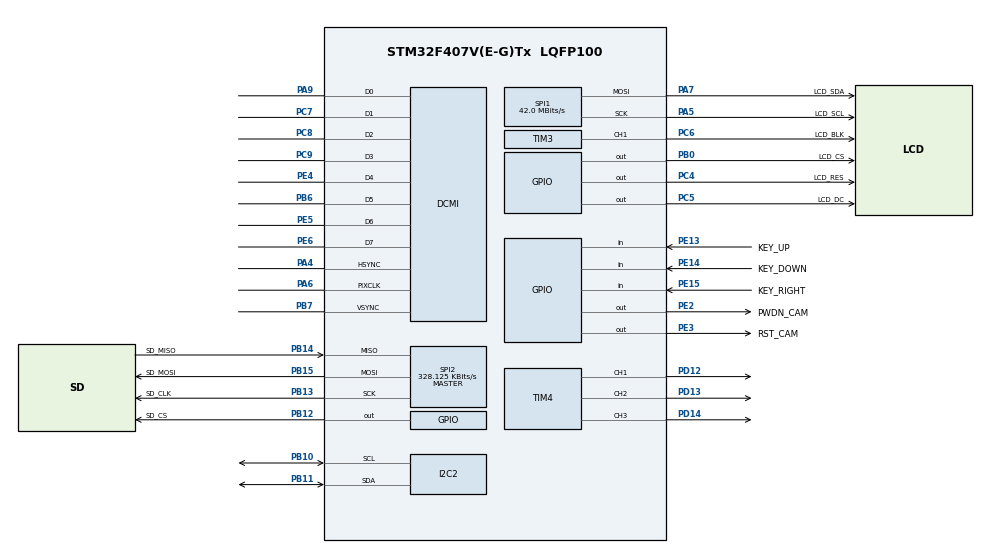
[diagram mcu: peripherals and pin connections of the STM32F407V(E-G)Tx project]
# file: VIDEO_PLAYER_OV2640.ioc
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DCMI.PCKPolarity=DCMI_PCKPOLARITY_RISING
Dma.DCMI.3.Direction=DMA_PERIPH_TO_MEMORY
Dma.DCMI.3.FIFOMode=DMA_FIFOMODE_DISABLE
Dma.DCMI.3.Instance=DMA2_Stream1
Dma.DCMI.3.MemDataAlignment=DMA_MDATAALIGN_WORD
Dma.DCMI.3.MemInc=DMA_MINC_ENABLE
Dma.DCMI.3.Mode=DMA_NORMAL
Dma.DCMI.3.PeriphDataAlignment=DMA_PDATAALIGN_WORD
Dma.DCMI.3.PeriphInc=DMA_PINC_DISABLE
Dma.DCMI.3.Priority=DMA_PRIORITY_LOW
Dma.Request0=SPI1_TX
Dma.Request1=SPI2_RX
Dma.Request2=SPI2_TX
Dma.Request3=DCMI
Dma.SPI1_TX.0.Direction=DMA_MEMORY_TO_PERIPH
Dma.SPI1_TX.0.FIFOMode=DMA_FIFOMODE_ENABLE
Dma.SPI1_TX.0.FIFOThreshold=DMA_FIFO_THRESHOLD_FULL
Dma.SPI1_TX.0.Instance=DMA2_Stream3
Dma.SPI1_TX.0.MemBurst=DMA_MBURST_INC8
Dma.SPI1_TX.0.MemDataAlignment=DMA_MDATAALIGN_HALFWORD
Dma.SPI1_TX.0.MemInc=DMA_MINC_ENABLE
Dma.SPI1_TX.0.Mode=DMA_NORMAL
Dma.SPI1_TX.0.PeriphBurst=DMA_PBURST_SINGLE
Dma.SPI1_TX.0.PeriphDataAlignment=DMA_PDATAALIGN_HALFWORD
Dma.SPI1_TX.0.PeriphInc=DMA_PINC_DISABLE
Dma.SPI1_TX.0.Priority=DMA_PRIORITY_LOW
Dma.SPI2_RX.1.Direction=DMA_PERIPH_TO_MEMORY
Dma.SPI2_RX.1.FIFOMode=DMA_FIFOMODE_ENABLE
Dma.SPI2_RX.1.FIFOThreshold=DMA_FIFO_THRESHOLD_FULL
Dma.SPI2_RX.1.Instance=DMA1_Stream3
Dma.SPI2_RX.1.MemBurst=DMA_MBURST_INC8
Dma.SPI2_RX.1.MemDataAlignment=DMA_MDATAALIGN_BYTE
Dma.SPI2_RX.1.MemInc=DMA_MINC_ENABLE
Dma.SPI2_RX.1.Mode=DMA_NORMAL
Dma.SPI2_RX.1.PeriphBurst=DMA_PBURST_SINGLE
Dma.SPI2_RX.1.PeriphDataAlignment=DMA_PDATAALIGN_BYTE
Dma.SPI2_RX.1.PeriphInc=DMA_PINC_DISABLE
Dma.SPI2_RX.1.Priority=DMA_PRIORITY_MEDIUM
Dma.SPI2_TX.2.Direction=DMA_MEMORY_TO_PERIPH
Dma.SPI2_TX.2.FIFOMode=DMA_FIFOMODE_ENABLE
Dma.SPI2_TX.2.FIFOThreshold=DMA_FIFO_THRESHOLD_FULL
Dma.SPI2_TX.2.Instance=DMA1_Stream4
Dma.SPI2_TX.2.MemBurst=DMA_MBURST_INC8
Dma.SPI2_TX.2.MemDataAlignment=DMA_MDATAALIGN_BYTE
Dma.SPI2_TX.2.MemInc=DMA_MINC_ENABLE
Dma.SPI2_TX.2.Mode=DMA_NORMAL
Dma.SPI2_TX.2.PeriphBurst=DMA_PBURST_SINGLE
Dma.SPI2_TX.2.PeriphDataAlignment=DMA_PDATAALIGN_BYTE
Dma.SPI2_TX.2.PeriphInc=DMA_PINC_DISABLE
Dma.SPI2_TX.2.Priority=DMA_PRIORITY_MEDIUM
Mcu.Family=STM32F4
Mcu.Name=STM32F407V(E-G)Tx
Mcu.Package=LQFP100
NVIC.DCMI_IRQn=true\:0\:0\:true\:false\:true\:true\:true\:true
NVIC.DMA1_Stream3_IRQn=true\:2\:0\:true\:false\:true\:false\:true\:true
NVIC.DMA1_Stream4_IRQn=true\:2\:0\:true\:false\:true\:false\:true\:true
NVIC.DMA2_Stream1_IRQn=true\:0\:0\:true\:false\:true\:false\:true\:true
NVIC.DMA2_Stream3_IRQn=true\:3\:0\:true\:false\:true\:false\:true\:true
NVIC.PriorityGroup=NVIC_PRIORITYGROUP_4
NVIC.TIM1_UP_TIM10_IRQn=true\:0\:0\:false\:false\:true\:true\:true\:true
PA13.Mode=Serial_Wire
PA13.Signal=SYS_JTMS-SWDIO
PA14.Mode=Serial_Wire
PA14.Signal=SYS_JTCK-SWCLK
PA15.Signal=I2S3_WS
PA4.GPIO_PuPd=GPIO_PULLUP
PA4.GPIO_Speed=GPIO_SPEED_FREQ_VERY_HIGH
PA4.Mode=Slave_8_bits_External_Synchro
PA4.Signal=DCMI_HSYNC
PA5.GPIO_Label=LCD_SCL
PA5.GPIO_PuPd=GPIO_PULLUP
PA5.Mode=TX_Only_Simplex_Unidirect_Master
PA5.Signal=SPI1_SCK
PA6.GPIO_PuPd=GPIO_PULLUP
PA6.GPIO_Speed=GPIO_SPEED_FREQ_VERY_HIGH
PA6.Mode=Slave_8_bits_External_Synchro
PA6.Signal=DCMI_PIXCLK
PA7.GPIO_Label=LCD_SDA
PA7.GPIO_PuPd=GPIO_PULLUP
PA7.Mode=TX_Only_Simplex_Unidirect_Master
PA7.Signal=SPI1_MOSI
PA9.GPIO_PuPd=GPIO_PULLUP
PA9.GPIO_Speed=GPIO_SPEED_FREQ_VERY_HIGH
PA9.Mode=Slave_8_bits_External_Synchro
PA9.Signal=DCMI_D0
PB0.GPIO_Label=LCD_CS
PB0.GPIO_PuPd=GPIO_PULLUP
PB0.GPIO_Speed=GPIO_SPEED_FREQ_HIGH
PB0.PinState=GPIO_PIN_SET
PB0.Signal=GPIO_Output
PB10.GPIO_Pu=GPIO_PULLUP
PB10.Mode=I2C
PB10.Signal=I2C2_SCL
PB11.GPIO_Pu=GPIO_PULLUP
PB11.Mode=I2C
PB11.Signal=I2C2_SDA
PB12.GPIO_Label=SD_CS
PB12.GPIO_PuPd=GPIO_PULLUP
PB12.GPIO_Speed=GPIO_SPEED_FREQ_HIGH
PB12.PinState=GPIO_PIN_SET
PB12.Signal=GPIO_Output
PB13.GPIO_Label=SD_CLK
PB13.GPIO_PuPd=GPIO_PULLUP
PB13.Mode=Full_Duplex_Master
PB13.Signal=SPI2_SCK
PB14.GPIO_Label=SD_MISO
PB14.GPIO_PuPd=GPIO_PULLUP
PB14.Mode=Full_Duplex_Master
PB14.Signal=SPI2_MISO
PB15.GPIO_Label=SD_MOSI
PB15.GPIO_PuPd=GPIO_PULLUP
PB15.Mode=Full_Duplex_Master
PB15.Signal=SPI2_MOSI
PB6.GPIO_PuPd=GPIO_PULLUP
PB6.GPIO_Speed=GPIO_SPEED_FREQ_VERY_HIGH
PB6.Mode=Slave_8_bits_External_Synchro
PB6.Signal=DCMI_D5
PB7.GPIO_PuPd=GPIO_PULLUP
PB7.GPIO_Speed=GPIO_SPEED_FREQ_VERY_HIGH
PB7.Mode=Slave_8_bits_External_Synchro
PB7.Signal=DCMI_VSYNC
PC10.Signal=I2S3_CK
PC12.Signal=I2S3_SD
PC4.GPIO_Label=LCD_RES
PC4.GPIO_Speed=GPIO_SPEED_FREQ_HIGH
PC4.PinState=GPIO_PIN_SET
PC4.Signal=GPIO_Output
PC5.GPIO_Label=LCD_DC
PC5.GPIO_Speed=GPIO_SPEED_FREQ_HIGH
PC5.PinState=GPIO_PIN_SET
PC5.Signal=GPIO_Output
PC6.GPIO_Label=LCD_BLK
PC6.Signal=S_TIM3_CH1
PC7.GPIO_PuPd=GPIO_PULLUP
PC7.GPIO_Speed=GPIO_SPEED_FREQ_VERY_HIGH
PC7.Mode=Slave_8_bits_External_Synchro
PC7.Signal=DCMI_D1
PC8.GPIO_PuPd=GPIO_PULLUP
PC8.GPIO_Speed=GPIO_SPEED_FREQ_VERY_HIGH
PC8.Mode=Slave_8_bits_External_Synchro
PC8.Signal=DCMI_D2
PC9.GPIO_PuPd=GPIO_PULLUP
PC9.GPIO_Speed=GPIO_SPEED_FREQ_VERY_HIGH
PC9.Mode=Slave_8_bits_External_Synchro
PC9.Signal=DCMI_D3
PD12.Signal=S_TIM4_CH1
PD13.Signal=S_TIM4_CH2
PD14.Signal=S_TIM4_CH3
PE13.GPIO_Label=KEY_UP
PE13.GPIO_Mode=GPIO_MODE_INPUT
PE13.GPIO_PuPd=GPIO_PULLUP
PE13.Signal=GPIO_Input
PE14.GPIO_Label=KEY_DOWN
PE14.GPIO_Mode=GPIO_MODE_INPUT
PE14.GPIO_PuPd=GPIO_PULLUP
PE14.Signal=GPIO_Input
PE15.GPIO_Label=KEY_RIGHT
PE15.GPIO_Mode=GPIO_MODE_INPUT
PE15.GPIO_PuPd=GPIO_PULLUP
PE15.Signal=GPIO_Input
PE2.GPIO_Label=PWDN_CAM
PE2.GPIO_Speed=GPIO_SPEED_FREQ_VERY_HIGH
PE2.PinState=GPIO_PIN_SET
PE2.Signal=GPIO_Output
PE3.GPIO_Label=RST_CAM
PE3.GPIO_PuPd=GPIO_PULLUP
PE3.GPIO_Speed=GPIO_SPEED_FREQ_VERY_HIGH
PE3.PinState=GPIO_PIN_SET
PE3.Signal=GPIO_Output
PE4.GPIO_PuPd=GPIO_PULLUP
PE4.GPIO_Speed=GPIO_SPEED_FREQ_VERY_HIGH
PE4.Mode=Slave_8_bits_External_Synchro
PE4.Signal=DCMI_D4
PE5.GPIO_PuPd=GPIO_PULLUP
PE5.GPIO_Speed=GPIO_SPEED_FREQ_VERY_HIGH
PE5.Mode=Slave_8_bits_External_Synchro
PE5.Signal=DCMI_D6
PE6.GPIO_PuPd=GPIO_PULLUP
PE6.GPIO_Speed=GPIO_SPEED_FREQ_VERY_HIGH
PE6.Mode=Slave_8_bits_External_Synchro
PE6.Signal=DCMI_D7
PH0-OSC_IN.Mode=HSE-External-Oscillator
PH0-OSC_IN.Signal=RCC_OSC_IN
PH1-OSC_OUT.Mode=HSE-External-Oscillator
PH1-OSC_OUT.Signal=RCC_OSC_OUT
ProjectManager.HeapSize=0x200
ProjectManager.StackSize=0x400
ProjectManager.TargetToolchain=STM32CubeIDE
RCC.48MHZClocksFreq_Value=84000000
RCC.AHBFreq_Value=168000000
RCC.APB1CLKDivider=RCC_HCLK_DIV4
RCC.APB1Freq_Value=42000000
RCC.APB1TimFreq_Value=84000000
RCC.APB2CLKDivider=RCC_HCLK_DIV2
RCC.APB2Freq_Value=84000000
RCC.APB2TimFreq_Value=168000000
RCC.CortexFreq_Value=168000000
RCC.EnbaleCSS=true
RCC.HCLKFreq_Value=168000000
RCC.HSE_VALUE=8000000
RCC.HSI_VALUE=16000000
RCC.LSE_VALUE=32768
RCC.PLLM=4
RCC.PLLN=168
RCC.PLLSourceVirtual=RCC_PLLSOURCE_HSE
RCC.RCC_MCO1Source=RCC_MCO1SOURCE_PLLCLK
RCC.SYSCLKFreq_VALUE=168000000
RCC.SYSCLKSource=RCC_SYSCLKSOURCE_PLLCLK
RCC.VCOOutputFreq_Value=336000000
SH.S_TIM3_CH1.0=TIM3_CH1,PWM Generation1 CH1
SH.S_TIM4_CH1.0=TIM4_CH1,PWM Generation1 CH1
SH.S_TIM4_CH2.0=TIM4_CH2,PWM Generation2 CH2
SH.S_TIM4_CH3.0=TIM4_CH3,PWM Generation3 CH3
SPI1.BaudRatePrescaler=SPI_BAUDRATEPRESCALER_2
SPI1.CLKPhase=SPI_PHASE_2EDGE
SPI1.CLKPolarity=SPI_POLARITY_HIGH
SPI1.CalculateBaudRate=42.0 MBits/s
SPI1.DataSize=SPI_DATASIZE_16BIT
SPI1.Direction=SPI_DIRECTION_2LINES
SPI1.Mode=SPI_MODE_MASTER
SPI1.VirtualType=VM_MASTER
SPI2.BaudRatePrescaler=SPI_BAUDRATEPRESCALER_128
SPI2.CalculateBaudRate=328.125 KBits/s
SPI2.Direction=SPI_DIRECTION_2LINES
SPI2.Mode=SPI_MODE_MASTER
SPI2.VirtualType=VM_MASTER
TIM10.Period=420-1
TIM10.Prescaler=1000-1
TIM3.Channel-PWM\ Generation1\ CH1=TIM_CHANNEL_1
TIM3.Period=210-1
TIM3.Prescaler=1000-1
TIM3.Pulse-PWM\ Generation1\ CH1=105
TIM4.Channel-PWM\ Generation1\ CH1=TIM_CHANNEL_1
TIM4.Channel-PWM\ Generation2\ CH2=TIM_CHANNEL_2
TIM4.Channel-PWM\ Generation3\ CH3=TIM_CHANNEL_3
VP_TIM10_VS_ClockSourceINT.Mode=Enable_Timer
board=custom

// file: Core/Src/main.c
/* USER CODE BEGIN Header */
/**
  ******************************************************************************
  * @file           : main.c
  * @brief          : Main program body
  ******************************************************************************
  * @attention
  *
  * Copyright (c) 2026 STMicroelectronics.
  * All rights reserved.
  *
  * This software is licensed under terms that can be found in the LICENSE file
  * in the root directory of this software component.
  * If no LICENSE file comes with this software, it is provided AS-IS.
  *
  ******************************************************************************
  */
/* USER CODE END Header */
#include "main.h"

/* USER CODE BEGIN Includes */
#include "display.h" 		//display driver
#include "st7789.h"
#include "ili9341.h" 		//display support based on ili9341 controller
#include "pcm5102.h" 		//DAC driver PCM5102
#include "ff.h"		 		//FatFS library
#include "avi.h"	 		//AVI player
#include "filemanager.h"	//file manager
#include "keyboard.h"		//module for working with buttons

#include "common.h"
#include "ov2640.h"
/* USER CODE END Includes */

/* USER CODE BEGIN PTD */
//счетчик "системного времени", мс
volatile uint32_t millis = 0;

//Переменные для библиотеки FatFs
char Path[4];
FATFS FatFS;

/* USER CODE END PTD */

/* USER CODE BEGIN PD */
#define MAX_PICTURE_BUFF 54400  //320x170
uint16_t pBuffer[MAX_PICTURE_BUFF];
/* USER CODE END PD */

DCMI_HandleTypeDef hdcmi;
DMA_HandleTypeDef hdma_dcmi;

I2C_HandleTypeDef hi2c2;

TIM_HandleTypeDef htim4;

void SystemClock_Config(void);
static void MX_GPIO_Init(void);
static void MX_DMA_Init(void);
static void MX_SPI1_Init(void);
static void MX_TIM3_Init(void);
static void MX_SPI2_Init(void);
static void MX_TIM10_Init(void);
static void MX_DCMI_Init(void);
static void MX_I2C2_Init(void);
static void MX_TIM4_Init(void);

/* USER CODE BEGIN 0 */
static void DWT_init (void)
{
	if (!(CoreDebug->DEMCR & CoreDebug_DEMCR_TRCENA_Msk))	{
		CoreDebug->DEMCR |= CoreDebug_DEMCR_TRCENA_Msk;
	#ifdef __CORE_CM7_H_GENERIC
	        DWT->LAR = 0xC5ACCE55;  //unlocking access to the DWT register
	#endif
	   DWT->CYCCNT = 0;
	   DWT->CTRL |= DWT_CTRL_CYCCNTENA_Msk;
	}
}
/* USER CODE END 0 */

int main(void)
{

  /* USER CODE BEGIN 1 */
	LL_FLASH_SetLatency(LL_FLASH_LATENCY_5);   // Ajusta la latencia de la Flash para 168 MHz (evita fallos)
	LL_FLASH_EnablePrefetch();                 // Adelanta instrucciones desde Flash (mejor rendimiento)
	LL_FLASH_EnableInstCache();                // Cachea instrucciones (CPU más rápida)
	LL_FLASH_EnableDataCache();                // Cachea datos desde Flash (accesos más rápidos)
  /* USER CODE END 1 */

  /* MCU Configuration--------------------------------------------------------*/

  /* Reset of all peripherals, Initializes the Flash interface and the Systick. */
  HAL_Init();

  /* Configure the system clock */
  SystemClock_Config();

  /* USER CODE BEGIN SysInit */
	//настраиваем системный таймер (прерывания 1000 раз в секунду)
	SysTick_Config(SystemCoreClock/1000);
  /* USER CODE END SysInit */

  /* Initialize all configured peripherals */
  MX_GPIO_Init();
  MX_DMA_Init();
  MX_SPI1_Init();
  MX_TIM3_Init();
  MX_SPI2_Init();
  MX_TIM10_Init();
  MX_DCMI_Init();
  MX_I2C2_Init();
  MX_TIM4_Init();
  /* USER CODE BEGIN 2 */
  /* ---------------------------- PULSADORES ------------------------------- */
  //KEYB_Add_Button(KEY_LEFT_GPIO_Port, KEY_LEFT_Pin, KEYB_LEFT, KEYB_BUTTON_ACTIVE);
  KEYB_Add_Button(KEY_RIGHT_GPIO_Port, KEY_RIGHT_Pin, KEYB_RIGHT, KEYB_BUTTON_ACTIVE);
  KEYB_Add_Button(KEY_UP_GPIO_Port, KEY_UP_Pin, KEYB_UP, KEYB_BUTTON_ACTIVE);
  KEYB_Add_Button(KEY_DOWN_GPIO_Port, KEY_DOWN_Pin, KEYB_DOWN, KEYB_BUTTON_ACTIVE);

  TIM10->DIER |= TIM_DIER_UIE;
  TIM10->CR1  |= TIM_CR1_CEN;
  /* ------------------------------------------------------------------------------- */

  //Initialize I2S3
    Init_DAC();
    //Setup_DAC(SPI3, 44100, LL_I2S_DATAFORMAT_16B);

	DWT_init();

	//-------------------Setting parameters and initializing the display ---------------------
	LCD_BackLight_data bl_dat = { .htim_bk = TIM3,
		  	  	  	  	  	  	  .channel_htim_bk = LL_TIM_CHANNEL_CH1,
    							  .blk_port = 0,
    							  .blk_pin = 0,
    							  .bk_percent = 50 };

	LCD_DMA_TypeDef hdma_spi1_tx = { .dma = DMA2,
		  	  	  	  	  	  	     .stream = LL_DMA_STREAM_3 };

	LCD_SPI_Connected_data spi_dat = { .spi = SPI1,
  		  							   .dma_tx = hdma_spi1_tx,
   									   .reset_port = LCD_RES_GPIO_Port,
   									   .reset_pin = LCD_RES_Pin,
   									   .dc_port = LCD_DC_GPIO_Port,
   									   .dc_pin = LCD_DC_Pin,
   									   .cs_port = LCD_CS_GPIO_Port,
   									   .cs_pin = LCD_CS_Pin  };
	#ifndef LCD_DYNAMIC_MEM
	LCD_Handler lcd1;
	#endif

	//For display on controller ST7789 170x320
	//ffmpeg -i che.mp4 -c:a mp3 -c:v mjpeg -s 320x170 -r 23.98 -q 10 che.avi
	LCD = LCD_DisplayAdd( LCD,
	#ifndef LCD_DYNAMIC_MEM
			  	  	  	  	&lcd1,
	#endif
			  	  	  	  	170,//170
			   				320,//320
							ST7789_CONTROLLER_WIDTH,
							ST7789_CONTROLLER_HEIGHT,
							//Задаем смещение по ширине и высоте для нестандартных или бракованных дисплеев:
							35,//-35
							0,//0
							PAGE_ORIENTATION_LANDSCAPE_MIRROR,// PAGE_ORIENTATION_LANDSCAPE
							ST7789_Init,
							ST7789_SetWindow,
							ST7789_SleepIn,
							ST7789_SleepOut,
							&spi_dat,
							LCD_DATA_16BIT_BUS,
							bl_dat);

	/*
	//For display on controller ST7789 135x240
	//ffmpeg -i che.mp4 -c:a mp3 -c:v mjpeg -s 240x135 -r 23.98 -q 10 che.avi
	LCD = LCD_DisplayAdd( LCD,
	#ifndef LCD_DYNAMIC_MEM
			  	  	  	  	&lcd1,
	#endif
			  	  	  	  	135,//170
			   				240,//320
							ST7789_CONTROLLER_WIDTH,
							ST7789_CONTROLLER_HEIGHT,
							//Задаем смещение по ширине и высоте для нестандартных или бракованных дисплеев:
							-53,//-35
							40,//0
							PAGE_ORIENTATION_LANDSCAPE,// PAGE_ORIENTATION_LANDSCAPE
							ST7789_Init,
							ST7789_SetWindow,
							ST7789_SleepIn,
							ST7789_SleepOut,
							&spi_dat,
							LCD_DATA_16BIT_BUS,
							bl_dat);
	*/

	/*
	//For display on controller ILI9341
	LCD = LCD_DisplayAdd( LCD,
	#ifndef LCD_DYNAMIC_MEM
		  	  	  	  	  &lcd1,
	#endif
		  	  	  	  	  320,
		   				  240,
						  ILI9341_CONTROLLER_WIDTH,
						  ILI9341_CONTROLLER_HEIGHT,
						  //Set the offset in width and height for non-standard or defective displays:
						  0,		//display matrix width offset
						  0,		//display matrix height offset
						  //PAGE_ORIENTATION_PORTRAIT,
						  //PAGE_ORIENTATION_PORTRAIT_MIRROR,
						  PAGE_ORIENTATION_LANDSCAPE_MIRROR,
						  ILI9341_Init,
						  ILI9341_SetWindow,
						  ILI9341_SleepIn,
						  ILI9341_SleepOut,
						  &spi_dat,
						  LCD_DATA_16BIT_BUS,
						  bl_dat );
	*/

	LCD_Handler *lcd = LCD; //pointer to the first display in the list
	LCD_Init(lcd);
	LCD_Fill(lcd, 0x319bb1);
	//------------------------------------------------------------------------------------------

	//----------------------------------- Mounting the disc -----------------------------------
	(void)f_mount(&FatFS, Path, 0);
	//------------------------------------------------------------------------------------------

	/* ----------------------------Setting up a file manager ---------------------------- */
	/* Define a color scheme */
	File_Manager_Color_Scheme color_scheme_pl = { COLOR_YELLOW,		/* directory name text color */
			  	  	  	  	  	  	  	  	  	  COLOR_WHITE,		/* file name text color */
												  COLOR_GREEN,		/* text color of the selected file/directory */
												  0x319bb1,			/* manager window background color (for empty lines) */
												  0x319bb1,			/* background color of even rows */
												  0x319bb1,			/* background color of odd rows */
												  COLOR_LIGHTGREY,	/* cursor color of the current file/directory */
												  COLOR_LIGHTGREY,	/* vertical scroll slider color */
												  0x319bb1,			/* vertical scroll bar color */
												  1					/* cursor color flag:
																  	  	  0 - the text of the selected file/directory is circled
																  	  	  	  cursor color rectangle (cursor_color).
														 	 	  	  	  >0 -the text background of the selected file/directory is equal to
														 	 	  	  	  	  cursor color (cursor_color) */
												 	 };

	File_Manager_Handler *fm = FileManagerNew();	/* Creating a File Manager Handler */
	fm->SetDisplay(fm, lcd);						/* Display showing the file manager (pointer) */
	fm->SetWin(fm, 6, 0, lcd->Width-6, lcd->Height);/* File manager window options:
	  	  	  	  	  	  	  	  	  	  	  	  	   - horizontal position of the upper left corner of the window;
	  	  	  	  	  	  	  	  	  	  	  	  	   - vertical position of the upper left corner of the window;
	  	  	  	  	  	  	  	  	  	  	  	  	   - window width;
	  	  	  	  	  	  	  	  	  	  	  	  	   - window height. */
	fm->SetColor(fm, &color_scheme_pl);				 /* Color scheme (index) */
	fm->SetFont(fm, &Font_12x20);					 /* Font (pointer) */
	fm->SetKeys(fm, KEYB_UP, KEYB_DOWN, KEYB_RIGHT); /* Control buttons:
	   	   	   	   	   	   	   	   	   	   	   	   	    - button bit number up;
	   	   	   	   	   	   	   	   	   	   	   	   	    - button bit number down;
	   	   	   	   	   	   	   	   	   	   	   	   	    - bit number of the enter/select button. */
	//-----------------------------------------------------------------------------------------

	//Splash screen with information about the program and author
	//AVIIntro(lcd);
	LL_mDelay(30);
	uint8_t f_popup = 1;

	ov2640_Init(0x60, CAMERA_Monitor);

	//uint32_t keys=0;
	//keys = KEYB_Inkeys();
	//while (keys & (1 << KEYB_RIGHT));

	//while(!KEYB_kbhit());

  /* USER CODE END 2 */

  /* Infinite loop */
  /* USER CODE BEGIN WHILE */
  while (1)
  {
	    HAL_DCMI_Start_DMA(&hdcmi, DCMI_MODE_SNAPSHOT, (uint32_t)pBuffer, MAX_PICTURE_BUFF/2);
	    while (HAL_DCMI_GetState(&hdcmi) != HAL_DCMI_STATE_READY);
	    LCD_DrawImage(lcd, 0, 0, 320, 170, pBuffer,0);

	    /*
  	// Fill the display with blue (the background color of the file manager)
  	LCD_Fill(lcd, 0x319bb1);
  	// "Pop-up" window of the file manager
		if (f_popup) {
			FileManagerPopupWin(fm, 5);
			f_popup = 0;
		}
		// Launch file manager
		fm->Show(fm);
		// Check the shutdown status of the file manager
		if (fm->GetStatus(fm) == File_Manager_OK) { // Completing without errors with file selection?
			// Launch the video player
			PlayAVI(fm->GetFilePath(fm), fm->GetFileName(fm), lcd, 0, 0, lcd->Width, lcd->Height);
		}
		else {
			// Display a message that the file manager completed with an error
			LCD_WriteString(lcd, 20, 0, "Error FileManager!", fm->font, fm->color_scheme->text_color_file, fm->color_scheme->bg_color, LCD_SYMBOL_PRINT_FAST);
			// Wait for any button to be pressed
			while(!KEYB_kbhit()) { }
		}
	     */

    /* USER CODE END WHILE */

  }
}

void SystemClock_Config(void)
{
  LL_FLASH_SetLatency(LL_FLASH_LATENCY_5);
  while(LL_FLASH_GetLatency()!= LL_FLASH_LATENCY_5)
  {
  }
  LL_PWR_SetRegulVoltageScaling(LL_PWR_REGU_VOLTAGE_SCALE1);
  LL_RCC_HSE_Enable();

   /* Wait till HSE is ready */
  while(LL_RCC_HSE_IsReady() != 1)
  {

  }
  LL_RCC_HSE_EnableCSS();
  LL_RCC_PLL_ConfigDomain_SYS(LL_RCC_PLLSOURCE_HSE, LL_RCC_PLLM_DIV_4, 168, LL_RCC_PLLP_DIV_2);
  LL_RCC_PLL_Enable();

   /* Wait till PLL is ready */
  while(LL_RCC_PLL_IsReady() != 1)
  {

  }
  while (LL_PWR_IsActiveFlag_VOS() == 0)
  {
  }
  LL_RCC_SetAHBPrescaler(LL_RCC_SYSCLK_DIV_1);
  LL_RCC_SetAPB1Prescaler(LL_RCC_APB1_DIV_4);
  LL_RCC_SetAPB2Prescaler(LL_RCC_APB2_DIV_2);
  LL_RCC_SetSysClkSource(LL_RCC_SYS_CLKSOURCE_PLL);

   /* Wait till System clock is ready */
  while(LL_RCC_GetSysClkSource() != LL_RCC_SYS_CLKSOURCE_STATUS_PLL)
  {

  }
  LL_SetSystemCoreClock(168000000);

   /* Update the time base */
  if (HAL_InitTick (TICK_INT_PRIORITY) != HAL_OK)
  {
    Error_Handler();
  }
}

static void MX_DCMI_Init(void)
{

  hdcmi.Instance = DCMI;
  hdcmi.Init.SynchroMode = DCMI_SYNCHRO_HARDWARE;
  hdcmi.Init.PCKPolarity = DCMI_PCKPOLARITY_RISING;
  hdcmi.Init.VSPolarity = DCMI_VSPOLARITY_LOW;
  hdcmi.Init.HSPolarity = DCMI_HSPOLARITY_LOW;
  hdcmi.Init.CaptureRate = DCMI_CR_ALL_FRAME;
  hdcmi.Init.ExtendedDataMode = DCMI_EXTEND_DATA_8B;
  hdcmi.Init.JPEGMode = DCMI_JPEG_DISABLE;
  if (HAL_DCMI_Init(&hdcmi) != HAL_OK)
  {
    Error_Handler();
  }

}

static void MX_I2C2_Init(void)
{

  hi2c2.Instance = I2C2;
  hi2c2.Init.ClockSpeed = 100000;
  hi2c2.Init.DutyCycle = I2C_DUTYCYCLE_2;
  hi2c2.Init.OwnAddress1 = 0;
  hi2c2.Init.AddressingMode = I2C_ADDRESSINGMODE_7BIT;
  hi2c2.Init.DualAddressMode = I2C_DUALADDRESS_DISABLE;
  hi2c2.Init.OwnAddress2 = 0;
  hi2c2.Init.GeneralCallMode = I2C_GENERALCALL_DISABLE;
  hi2c2.Init.NoStretchMode = I2C_NOSTRETCH_DISABLE;
  if (HAL_I2C_Init(&hi2c2) != HAL_OK)
  {
    Error_Handler();
  }

}

static void MX_SPI1_Init(void)
{

  LL_SPI_InitTypeDef SPI_InitStruct = {0};

  LL_GPIO_InitTypeDef GPIO_InitStruct = {0};

  /* Peripheral clock enable */
  LL_APB2_GRP1_EnableClock(LL_APB2_GRP1_PERIPH_SPI1);

  LL_AHB1_GRP1_EnableClock(LL_AHB1_GRP1_PERIPH_GPIOA);
  /**SPI1 GPIO Configuration
  PA5   ------> SPI1_SCK
  PA7   ------> SPI1_MOSI
  */
  GPIO_InitStruct.Pin = LCD_SCL_Pin|LCD_SDA_Pin;
  GPIO_InitStruct.Mode = LL_GPIO_MODE_ALTERNATE;
  GPIO_InitStruct.Speed = LL_GPIO_SPEED_FREQ_VERY_HIGH;
  GPIO_InitStruct.OutputType = LL_GPIO_OUTPUT_PUSHPULL;
  GPIO_InitStruct.Pull = LL_GPIO_PULL_UP;
  GPIO_InitStruct.Alternate = LL_GPIO_AF_5;
  LL_GPIO_Init(GPIOA, &GPIO_InitStruct);

  /* SPI1 DMA Init */

  /* SPI1_TX Init */
  LL_DMA_SetChannelSelection(DMA2, LL_DMA_STREAM_3, LL_DMA_CHANNEL_3);

  LL_DMA_SetDataTransferDirection(DMA2, LL_DMA_STREAM_3, LL_DMA_DIRECTION_MEMORY_TO_PERIPH);

  LL_DMA_SetStreamPriorityLevel(DMA2, LL_DMA_STREAM_3, LL_DMA_PRIORITY_LOW);

  LL_DMA_SetMode(DMA2, LL_DMA_STREAM_3, LL_DMA_MODE_NORMAL);

  LL_DMA_SetPeriphIncMode(DMA2, LL_DMA_STREAM_3, LL_DMA_PERIPH_NOINCREMENT);

  LL_DMA_SetMemoryIncMode(DMA2, LL_DMA_STREAM_3, LL_DMA_MEMORY_INCREMENT);

  LL_DMA_SetPeriphSize(DMA2, LL_DMA_STREAM_3, LL_DMA_PDATAALIGN_HALFWORD);

  LL_DMA_SetMemorySize(DMA2, LL_DMA_STREAM_3, LL_DMA_MDATAALIGN_HALFWORD);

  LL_DMA_EnableFifoMode(DMA2, LL_DMA_STREAM_3);

  LL_DMA_SetFIFOThreshold(DMA2, LL_DMA_STREAM_3, LL_DMA_FIFOTHRESHOLD_FULL);

  LL_DMA_SetMemoryBurstxfer(DMA2, LL_DMA_STREAM_3, LL_DMA_MBURST_INC8);

  LL_DMA_SetPeriphBurstxfer(DMA2, LL_DMA_STREAM_3, LL_DMA_PBURST_SINGLE);

  /* SPI1 parameter configuration*/
  SPI_InitStruct.TransferDirection = LL_SPI_FULL_DUPLEX;
  SPI_InitStruct.Mode = LL_SPI_MODE_MASTER;
  SPI_InitStruct.DataWidth = LL_SPI_DATAWIDTH_16BIT;
  SPI_InitStruct.ClockPolarity = LL_SPI_POLARITY_HIGH;
  SPI_InitStruct.ClockPhase = LL_SPI_PHASE_2EDGE;
  SPI_InitStruct.NSS = LL_SPI_NSS_SOFT;
  SPI_InitStruct.BaudRate = LL_SPI_BAUDRATEPRESCALER_DIV2;
  SPI_InitStruct.BitOrder = LL_SPI_MSB_FIRST;
  SPI_InitStruct.CRCCalculation = LL_SPI_CRCCALCULATION_DISABLE;
  SPI_InitStruct.CRCPoly = 10;
  LL_SPI_Init(SPI1, &SPI_InitStruct);
  LL_SPI_SetStandard(SPI1, LL_SPI_PROTOCOL_MOTOROLA);

}

static void MX_SPI2_Init(void)
{

  LL_SPI_InitTypeDef SPI_InitStruct = {0};

  LL_GPIO_InitTypeDef GPIO_InitStruct = {0};

  /* Peripheral clock enable */
  LL_APB1_GRP1_EnableClock(LL_APB1_GRP1_PERIPH_SPI2);

  LL_AHB1_GRP1_EnableClock(LL_AHB1_GRP1_PERIPH_GPIOB);
  /**SPI2 GPIO Configuration
  PB13   ------> SPI2_SCK
  PB14   ------> SPI2_MISO
  PB15   ------> SPI2_MOSI
  */
  GPIO_InitStruct.Pin = SD_CLK_Pin|SD_MISO_Pin|SD_MOSI_Pin;
  GPIO_InitStruct.Mode = LL_GPIO_MODE_ALTERNATE;
  GPIO_InitStruct.Speed = LL_GPIO_SPEED_FREQ_VERY_HIGH;
  GPIO_InitStruct.OutputType = LL_GPIO_OUTPUT_PUSHPULL;
  GPIO_InitStruct.Pull = LL_GPIO_PULL_UP;
  GPIO_InitStruct.Alternate = LL_GPIO_AF_5;
  LL_GPIO_Init(GPIOB, &GPIO_InitStruct);

  /* SPI2 DMA Init */

  /* SPI2_RX Init */
  LL_DMA_SetChannelSelection(DMA1, LL_DMA_STREAM_3, LL_DMA_CHANNEL_0);

  LL_DMA_SetDataTransferDirection(DMA1, LL_DMA_STREAM_3, LL_DMA_DIRECTION_PERIPH_TO_MEMORY);

  LL_DMA_SetStreamPriorityLevel(DMA1, LL_DMA_STREAM_3, LL_DMA_PRIORITY_MEDIUM);

  LL_DMA_SetMode(DMA1, LL_DMA_STREAM_3, LL_DMA_MODE_NORMAL);

  LL_DMA_SetPeriphIncMode(DMA1, LL_DMA_STREAM_3, LL_DMA_PERIPH_NOINCREMENT);

  LL_DMA_SetMemoryIncMode(DMA1, LL_DMA_STREAM_3, LL_DMA_MEMORY_INCREMENT);

  LL_DMA_SetPeriphSize(DMA1, LL_DMA_STREAM_3, LL_DMA_PDATAALIGN_BYTE);

  LL_DMA_SetMemorySize(DMA1, LL_DMA_STREAM_3, LL_DMA_MDATAALIGN_BYTE);

  LL_DMA_EnableFifoMode(DMA1, LL_DMA_STREAM_3);

  LL_DMA_SetFIFOThreshold(DMA1, LL_DMA_STREAM_3, LL_DMA_FIFOTHRESHOLD_FULL);

  LL_DMA_SetMemoryBurstxfer(DMA1, LL_DMA_STREAM_3, LL_DMA_MBURST_INC8);

  LL_DMA_SetPeriphBurstxfer(DMA1, LL_DMA_STREAM_3, LL_DMA_PBURST_SINGLE);

  /* SPI2_TX Init */
  LL_DMA_SetChannelSelection(DMA1, LL_DMA_STREAM_4, LL_DMA_CHANNEL_0);

  LL_DMA_SetDataTransferDirection(DMA1, LL_DMA_STREAM_4, LL_DMA_DIRECTION_MEMORY_TO_PERIPH);

  LL_DMA_SetStreamPriorityLevel(DMA1, LL_DMA_STREAM_4, LL_DMA_PRIORITY_MEDIUM);

  LL_DMA_SetMode(DMA1, LL_DMA_STREAM_4, LL_DMA_MODE_NORMAL);

  LL_DMA_SetPeriphIncMode(DMA1, LL_DMA_STREAM_4, LL_DMA_PERIPH_NOINCREMENT);

  LL_DMA_SetMemoryIncMode(DMA1, LL_DMA_STREAM_4, LL_DMA_MEMORY_INCREMENT);

  LL_DMA_SetPeriphSize(DMA1, LL_DMA_STREAM_4, LL_DMA_PDATAALIGN_BYTE);

  LL_DMA_SetMemorySize(DMA1, LL_DMA_STREAM_4, LL_DMA_MDATAALIGN_BYTE);

  LL_DMA_EnableFifoMode(DMA1, LL_DMA_STREAM_4);

  LL_DMA_SetFIFOThreshold(DMA1, LL_DMA_STREAM_4, LL_DMA_FIFOTHRESHOLD_FULL);

  LL_DMA_SetMemoryBurstxfer(DMA1, LL_DMA_STREAM_4, LL_DMA_MBURST_INC8);

  LL_DMA_SetPeriphBurstxfer(DMA1, LL_DMA_STREAM_4, LL_DMA_PBURST_SINGLE);

  /* SPI2 parameter configuration*/
  SPI_InitStruct.TransferDirection = LL_SPI_FULL_DUPLEX;
  SPI_InitStruct.Mode = LL_SPI_MODE_MASTER;
  SPI_InitStruct.DataWidth = LL_SPI_DATAWIDTH_8BIT;
  SPI_InitStruct.ClockPolarity = LL_SPI_POLARITY_LOW;
  SPI_InitStruct.ClockPhase = LL_SPI_PHASE_1EDGE;
  SPI_InitStruct.NSS = LL_SPI_NSS_SOFT;
  SPI_InitStruct.BaudRate = LL_SPI_BAUDRATEPRESCALER_DIV128;
  SPI_InitStruct.BitOrder = LL_SPI_MSB_FIRST;
  SPI_InitStruct.CRCCalculation = LL_SPI_CRCCALCULATION_DISABLE;
  SPI_InitStruct.CRCPoly = 10;
  LL_SPI_Init(SPI2, &SPI_InitStruct);
  LL_SPI_SetStandard(SPI2, LL_SPI_PROTOCOL_MOTOROLA);

}

static void MX_TIM3_Init(void)
{

  LL_TIM_InitTypeDef TIM_InitStruct = {0};
  LL_TIM_OC_InitTypeDef TIM_OC_InitStruct = {0};

  LL_GPIO_InitTypeDef GPIO_InitStruct = {0};

  /* Peripheral clock enable */
  LL_APB1_GRP1_EnableClock(LL_APB1_GRP1_PERIPH_TIM3);

  TIM_InitStruct.Prescaler = 999;
  TIM_InitStruct.CounterMode = LL_TIM_COUNTERMODE_UP;
  TIM_InitStruct.Autoreload = 210-LL_TIM_IC_FILTER_FDIV1_N2;
  TIM_InitStruct.ClockDivision = LL_TIM_CLOCKDIVISION_DIV1;
  LL_TIM_Init(TIM3, &TIM_InitStruct);
  LL_TIM_DisableARRPreload(TIM3);
  LL_TIM_OC_EnablePreload(TIM3, LL_TIM_CHANNEL_CH1);
  TIM_OC_InitStruct.OCMode = LL_TIM_OCMODE_PWM1;
  TIM_OC_InitStruct.OCState = LL_TIM_OCSTATE_DISABLE;
  TIM_OC_InitStruct.OCNState = LL_TIM_OCSTATE_DISABLE;
  TIM_OC_InitStruct.CompareValue = 105;
  TIM_OC_InitStruct.OCPolarity = LL_TIM_OCPOLARITY_HIGH;
  LL_TIM_OC_Init(TIM3, LL_TIM_CHANNEL_CH1, &TIM_OC_InitStruct);
  LL_TIM_OC_DisableFast(TIM3, LL_TIM_CHANNEL_CH1);
  LL_TIM_SetTriggerOutput(TIM3, LL_TIM_TRGO_RESET);
  LL_TIM_DisableMasterSlaveMode(TIM3);
  LL_AHB1_GRP1_EnableClock(LL_AHB1_GRP1_PERIPH_GPIOC);
  /**TIM3 GPIO Configuration
  PC6   ------> TIM3_CH1
  */
  GPIO_InitStruct.Pin = LCD_BLK_Pin;
  GPIO_InitStruct.Mode = LL_GPIO_MODE_ALTERNATE;
  GPIO_InitStruct.Speed = LL_GPIO_SPEED_FREQ_LOW;
  GPIO_InitStruct.OutputType = LL_GPIO_OUTPUT_PUSHPULL;
  GPIO_InitStruct.Pull = LL_GPIO_PULL_NO;
  GPIO_InitStruct.Alternate = LL_GPIO_AF_2;
  LL_GPIO_Init(LCD_BLK_GPIO_Port, &GPIO_InitStruct);

}

static void MX_TIM4_Init(void)
{

  TIM_MasterConfigTypeDef sMasterConfig = {0};
  TIM_OC_InitTypeDef sConfigOC = {0};

  htim4.Instance = TIM4;
  htim4.Init.Prescaler = 0;
  htim4.Init.CounterMode = TIM_COUNTERMODE_UP;
  htim4.Init.Period = 65535;
  htim4.Init.ClockDivision = TIM_CLOCKDIVISION_DIV1;
  htim4.Init.AutoReloadPreload = TIM_AUTORELOAD_PRELOAD_DISABLE;
  if (HAL_TIM_PWM_Init(&htim4) != HAL_OK)
  {
    Error_Handler();
  }
  sMasterConfig.MasterOutputTrigger = TIM_TRGO_RESET;
  sMasterConfig.MasterSlaveMode = TIM_MASTERSLAVEMODE_DISABLE;
  if (HAL_TIMEx_MasterConfigSynchronization(&htim4, &sMasterConfig) != HAL_OK)
  {
    Error_Handler();
  }
  sConfigOC.OCMode = TIM_OCMODE_PWM1;
  sConfigOC.Pulse = 0;
  sConfigOC.OCPolarity = TIM_OCPOLARITY_HIGH;
  sConfigOC.OCFastMode = TIM_OCFAST_DISABLE;
  if (HAL_TIM_PWM_ConfigChannel(&htim4, &sConfigOC, TIM_CHANNEL_1) != HAL_OK)
  {
    Error_Handler();
  }
  if (HAL_TIM_PWM_ConfigChannel(&htim4, &sConfigOC, TIM_CHANNEL_2) != HAL_OK)
  {
    Error_Handler();
  }
  if (HAL_TIM_PWM_ConfigChannel(&htim4, &sConfigOC, TIM_CHANNEL_3) != HAL_OK)
  {
    Error_Handler();
  }
  HAL_TIM_MspPostInit(&htim4);

}

static void MX_TIM10_Init(void)
{

  LL_TIM_InitTypeDef TIM_InitStruct = {0};

  /* Peripheral clock enable */
  LL_APB2_GRP1_EnableClock(LL_APB2_GRP1_PERIPH_TIM10);

  /* TIM10 interrupt Init */
  NVIC_SetPriority(TIM1_UP_TIM10_IRQn, NVIC_EncodePriority(NVIC_GetPriorityGrouping(),0, 0));
  NVIC_EnableIRQ(TIM1_UP_TIM10_IRQn);

  TIM_InitStruct.Prescaler = 999;
  TIM_InitStruct.CounterMode = LL_TIM_COUNTERMODE_UP;
  TIM_InitStruct.Autoreload = 420-LL_TIM_IC_FILTER_FDIV1_N2;
  TIM_InitStruct.ClockDivision = LL_TIM_CLOCKDIVISION_DIV1;
  LL_TIM_Init(TIM10, &TIM_InitStruct);
  LL_TIM_DisableARRPreload(TIM10);

}

static void MX_DMA_Init(void)
{

  /* Init with LL driver */
  /* DMA controller clock enable */
  LL_AHB1_GRP1_EnableClock(LL_AHB1_GRP1_PERIPH_DMA2);
  LL_AHB1_GRP1_EnableClock(LL_AHB1_GRP1_PERIPH_DMA1);

  /* DMA interrupt init */
  /* DMA1_Stream3_IRQn interrupt configuration */
  NVIC_SetPriority(DMA1_Stream3_IRQn, NVIC_EncodePriority(NVIC_GetPriorityGrouping(),2, 0));
  NVIC_EnableIRQ(DMA1_Stream3_IRQn);
  /* DMA1_Stream4_IRQn interrupt configuration */
  NVIC_SetPriority(DMA1_Stream4_IRQn, NVIC_EncodePriority(NVIC_GetPriorityGrouping(),2, 0));
  NVIC_EnableIRQ(DMA1_Stream4_IRQn);
  /* DMA2_Stream1_IRQn interrupt configuration */
  HAL_NVIC_SetPriority(DMA2_Stream1_IRQn, 0, 0);
  HAL_NVIC_EnableIRQ(DMA2_Stream1_IRQn);
  /* DMA2_Stream3_IRQn interrupt configuration */
  NVIC_SetPriority(DMA2_Stream3_IRQn, NVIC_EncodePriority(NVIC_GetPriorityGrouping(),3, 0));
  NVIC_EnableIRQ(DMA2_Stream3_IRQn);

}

static void MX_GPIO_Init(void)
{
  LL_GPIO_InitTypeDef GPIO_InitStruct = {0};

  /* GPIO Ports Clock Enable */
  LL_AHB1_GRP1_EnableClock(LL_AHB1_GRP1_PERIPH_GPIOE);
  LL_AHB1_GRP1_EnableClock(LL_AHB1_GRP1_PERIPH_GPIOH);
  LL_AHB1_GRP1_EnableClock(LL_AHB1_GRP1_PERIPH_GPIOA);
  LL_AHB1_GRP1_EnableClock(LL_AHB1_GRP1_PERIPH_GPIOC);
  LL_AHB1_GRP1_EnableClock(LL_AHB1_GRP1_PERIPH_GPIOB);
  LL_AHB1_GRP1_EnableClock(LL_AHB1_GRP1_PERIPH_GPIOD);

  /**/
  LL_GPIO_SetOutputPin(GPIOE, PWDN_CAM_Pin|RST_CAM_Pin);

  /**/
  LL_GPIO_SetOutputPin(GPIOC, LCD_RES_Pin|LCD_DC_Pin);

  /**/
  LL_GPIO_SetOutputPin(GPIOB, LCD_CS_Pin|SD_CS_Pin);

  /**/
  GPIO_InitStruct.Pin = PWDN_CAM_Pin;
  GPIO_InitStruct.Mode = LL_GPIO_MODE_OUTPUT;
  GPIO_InitStruct.Speed = LL_GPIO_SPEED_FREQ_VERY_HIGH;
  GPIO_InitStruct.OutputType = LL_GPIO_OUTPUT_PUSHPULL;
  GPIO_InitStruct.Pull = LL_GPIO_PULL_NO;
  LL_GPIO_Init(PWDN_CAM_GPIO_Port, &GPIO_InitStruct);

  /**/
  GPIO_InitStruct.Pin = RST_CAM_Pin;
  GPIO_InitStruct.Mode = LL_GPIO_MODE_OUTPUT;
  GPIO_InitStruct.Speed = LL_GPIO_SPEED_FREQ_VERY_HIGH;
  GPIO_InitStruct.OutputType = LL_GPIO_OUTPUT_PUSHPULL;
  GPIO_InitStruct.Pull = LL_GPIO_PULL_UP;
  LL_GPIO_Init(RST_CAM_GPIO_Port, &GPIO_InitStruct);

  /**/
  GPIO_InitStruct.Pin = LCD_RES_Pin|LCD_DC_Pin;
  GPIO_InitStruct.Mode = LL_GPIO_MODE_OUTPUT;
  GPIO_InitStruct.Speed = LL_GPIO_SPEED_FREQ_HIGH;
  GPIO_InitStruct.OutputType = LL_GPIO_OUTPUT_PUSHPULL;
  GPIO_InitStruct.Pull = LL_GPIO_PULL_NO;
  LL_GPIO_Init(GPIOC, &GPIO_InitStruct);

  /**/
  GPIO_InitStruct.Pin = LCD_CS_Pin|SD_CS_Pin;
  GPIO_InitStruct.Mode = LL_GPIO_MODE_OUTPUT;
  GPIO_InitStruct.Speed = LL_GPIO_SPEED_FREQ_HIGH;
  GPIO_InitStruct.OutputType = LL_GPIO_OUTPUT_PUSHPULL;
  GPIO_InitStruct.Pull = LL_GPIO_PULL_UP;
  LL_GPIO_Init(GPIOB, &GPIO_InitStruct);

  /**/
  GPIO_InitStruct.Pin = KEY_UP_Pin|KEY_DOWN_Pin|KEY_RIGHT_Pin;
  GPIO_InitStruct.Mode = LL_GPIO_MODE_INPUT;
  GPIO_InitStruct.Pull = LL_GPIO_PULL_UP;
  LL_GPIO_Init(GPIOE, &GPIO_InitStruct);

  /**/
  GPIO_InitStruct.Pin = LL_GPIO_PIN_15;
  GPIO_InitStruct.Mode = LL_GPIO_MODE_ALTERNATE;
  GPIO_InitStruct.Speed = LL_GPIO_SPEED_FREQ_LOW;
  GPIO_InitStruct.OutputType = LL_GPIO_OUTPUT_PUSHPULL;
  GPIO_InitStruct.Pull = LL_GPIO_PULL_NO;
  GPIO_InitStruct.Alternate = LL_GPIO_AF_6;
  LL_GPIO_Init(GPIOA, &GPIO_InitStruct);

  /**/
  GPIO_InitStruct.Pin = LL_GPIO_PIN_10|LL_GPIO_PIN_12;
  GPIO_InitStruct.Mode = LL_GPIO_MODE_ALTERNATE;
  GPIO_InitStruct.Speed = LL_GPIO_SPEED_FREQ_LOW;
  GPIO_InitStruct.OutputType = LL_GPIO_OUTPUT_PUSHPULL;
  GPIO_InitStruct.Pull = LL_GPIO_PULL_NO;
  GPIO_InitStruct.Alternate = LL_GPIO_AF_6;
  LL_GPIO_Init(GPIOC, &GPIO_InitStruct);

}

void Error_Handler(void)
{
  __disable_irq();
  while (1)
  {
  }
}
